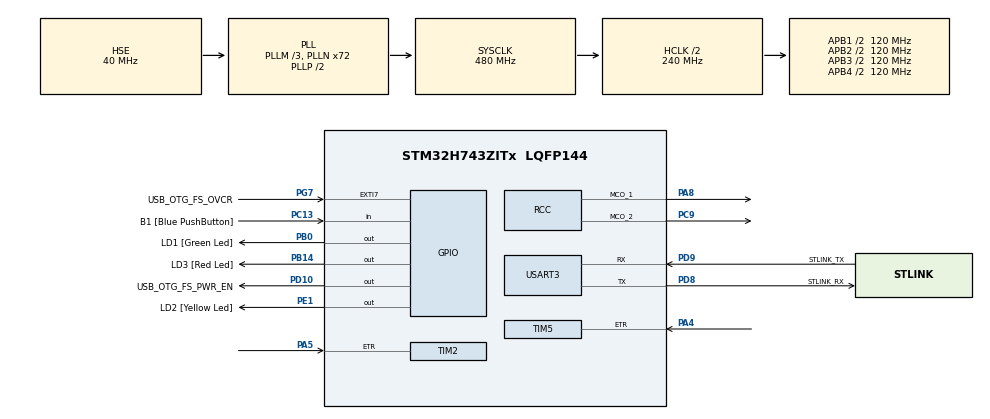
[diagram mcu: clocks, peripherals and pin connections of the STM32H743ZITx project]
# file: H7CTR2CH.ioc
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Mcu.Family=STM32H7
Mcu.Name=STM32H743ZITx
Mcu.Package=LQFP144
NVIC.PriorityGroup=NVIC_PRIORITYGROUP_4
NVIC.TIM2_IRQn=true\:0\:0\:false\:false\:true\:true\:true
NVIC.TIM5_IRQn=true\:0\:0\:false\:false\:true\:true\:true
NVIC.USART3_IRQn=true\:0\:0\:false\:false\:true\:true\:true
PA1.Signal=ETH_REF_CLK
PA11.Signal=USB_OTG_FS_DM
PA12.Signal=USB_OTG_FS_DP
PA13\ (JTMS/SWDIO).Signal=DEBUG_JTMS-SWDIO
PA14\ (JTCK/SWCLK).Signal=DEBUG_JTCK-SWCLK
PA2.Signal=ETH_MDIO
PA4.Signal=S_TIM5_ETR
PA5.Signal=S_TIM2_CH1_ETR
PA7.Signal=ETH_CRS_DV
PA8.GPIO_Speed=GPIO_SPEED_FREQ_VERY_HIGH
PA8.Mode=Clock-out-1
PA8.Signal=RCC_MCO_1
PA9.Signal=USB_OTG_FS_VBUS
PB0.GPIO_Label=LD1 [Green Led]
PB0.Signal=GPIO_Output
PB13.Signal=ETH_TXD1
PB14.GPIO_Label=LD3 [Red Led]
PB14.Signal=GPIO_Output
PC1.Signal=ETH_MDC
PC13.GPIO_Label=B1 [Blue PushButton]
PC13.Signal=GPIO_Input
PC14-OSC32_IN\ (OSC32_IN).Signal=RCC_OSC32_IN
PC15-OSC32_OUT\ (OSC32_OUT).Signal=RCC_OSC32_OUT
PC4.Signal=ETH_RXD0
PC5.Signal=ETH_RXD1
PC9.GPIO_Speed=GPIO_SPEED_FREQ_VERY_HIGH
PC9.Mode=Clock-out-2
PC9.Signal=RCC_MCO_2
PD10.GPIO_Label=USB_OTG_FS_PWR_EN
PD10.Signal=GPIO_Output
PD8.GPIO_Label=STLINK_RX
PD8.Mode=Asynchronous
PD8.Signal=USART3_TX
PD9.GPIO_Label=STLINK_TX
PD9.Mode=Asynchronous
PD9.Signal=USART3_RX
PE1.GPIO_Label=LD2 [Yellow Led]
PE1.Signal=GPIO_Output
PG11.Signal=ETH_TX_EN
PG13.Signal=ETH_TXD0
PG7.GPIO_Label=USB_OTG_FS_OVCR
PG7.Signal=GPXTI7
PH0-OSC_IN\ (PH0).Mode=HSE-External-Clock-Source
PH0-OSC_IN\ (PH0).Signal=RCC_OSC_IN
PH1-OSC_OUT\ (PH1).Signal=RCC_OSC_OUT
ProjectManager.HeapSize=0x200
ProjectManager.StackSize=0x400
ProjectManager.TargetToolchain=STM32CubeIDE
RCC.ADCFreq_Value=80625000
RCC.APB1Freq_Value=120000000
RCC.APB2Freq_Value=120000000
RCC.APB3Freq_Value=120000000
RCC.APB4Freq_Value=120000000
RCC.CortexFreq_Value=480000000
RCC.D1PPRE=RCC_APB3_DIV2
RCC.D2PPRE1=RCC_APB1_DIV2
RCC.D2PPRE2=RCC_APB2_DIV2
RCC.D3PPRE=RCC_APB4_DIV2
RCC.DIVM1=3
RCC.DIVN1=72
RCC.HCLKFreq_Value=240000000
RCC.HPRE=RCC_HCLK_DIV2
RCC.HSE_VALUE=40000000
RCC.PLL2FRACN=0
RCC.PLL3FRACN=0
RCC.PLLFRACN=0
RCC.PLLSourceVirtual=RCC_PLLSOURCE_HSE
RCC.PWR_Regulator_Voltage_Scale=PWR_REGULATOR_VOLTAGE_SCALE0
RCC.ProductRev=revV
RCC.RCC_MCO2Source=RCC_MCO2SOURCE_LSICLK
RCC.SYSCLKFreq_VALUE=480000000
RCC.SYSCLKSource=RCC_SYSCLKSOURCE_PLLCLK
RCC.USBFreq_Value=480000000
SH.S_TIM2_CH1_ETR.0=TIM2_ETR,ClockSourceETR_Mode2
SH.S_TIM5_ETR.0=TIM5_ETR,ClockSourceETR_Mode2
TIM2.Channel-Input_Capture1_from_TRC=TIM_CHANNEL_1
TIM2.ClockPrescaler=TIM_CLOCKPRESCALER_DIV2
TIM2.Period=0xffffffff
TIM2.TIM_MasterOutputTrigger=TIM_TRGO_RESET
TIM2.TIM_MasterSlaveMode=TIM_MASTERSLAVEMODE_ENABLE
TIM3.Period=47999
TIM3.Prescaler=9999
TIM3.TIM_MasterOutputTrigger=TIM_TRGO_UPDATE
TIM3.TIM_MasterSlaveMode=TIM_MASTERSLAVEMODE_ENABLE
TIM5.Channel-Input_Capture1_from_TRC=TIM_CHANNEL_1
TIM5.ClockPrescaler=TIM_CLOCKPRESCALER_DIV2
TIM5.Period=0xffffffff
TIM5.TIM_MasterSlaveMode=TIM_MASTERSLAVEMODE_ENABLE
USART3.VirtualMode-Asynchronous=VM_ASYNC
VP_TIM2_VS_CH1.Mode=Input_Capture1_from_TRC
VP_TIM2_VS_ClockSourceITR.Mode=TriggerSource_ITR2
VP_TIM2_VS_ControllerModeCombinedResetTrigger.Mode=Combined_Reset_Trigger_Mode
VP_TIM3_VS_ClockSourceINT.Mode=Internal
VP_TIM5_VS_CH1.Mode=Input_Capture1_from_TRC
VP_TIM5_VS_ClockSourceITR.Mode=TriggerSource_ITR2
VP_TIM5_VS_ControllerModeCombinedResetTrigger.Mode=Combined_Reset_Trigger_Mode
board=NUCLEO-H743ZI2

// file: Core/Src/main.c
/* USER CODE BEGIN Header */
/**
  ******************************************************************************
  * @file           : main.c
  * @brief          : Main program body
  ******************************************************************************
  * @attention
  *
  * Copyright (c) 2022 STMicroelectronics.
  * All rights reserved.
  *
  * This software is licensed under terms that can be found in the LICENSE file
  * in the root directory of this software component.
  * If no LICENSE file comes with this software, it is provided AS-IS.
  *
  ******************************************************************************
  */
/* USER CODE END Header */
#include "main.h"

/* USER CODE BEGIN Includes */
#include <stdio.h>
/* USER CODE END Includes */

/* USER CODE BEGIN PD */
#define MAXSTRLEN 80
/* USER CODE END PD */

TIM_HandleTypeDef htim2;
TIM_HandleTypeDef htim3;
TIM_HandleTypeDef htim5;

UART_HandleTypeDef huart3;

/* USER CODE BEGIN PV */
uint32_t countvalTIM2 = 0;
uint32_t countvalTIM5 = 0;
uint32_t readingno = 0;
char outstr[MAXSTRLEN] = "";
uint8_t newValFlagTIM2 = 0;
uint8_t newValFlagTIM5 = 0;

/* USER CODE END PV */

void SystemClock_Config(void);
static void MX_GPIO_Init(void);
static void MX_TIM2_Init(void);
static void MX_TIM3_Init(void);
static void MX_USART3_UART_Init(void);
static void MX_TIM5_Init(void);

int main(void)
{

  /* MCU Configuration--------------------------------------------------------*/

  /* Reset of all peripherals, Initializes the Flash interface and the Systick. */
  HAL_Init();

  /* Configure the system clock */
  SystemClock_Config();

  /* Initialize all configured peripherals */
  MX_GPIO_Init();
  MX_TIM2_Init();
  MX_TIM3_Init();
  MX_USART3_UART_Init();
  MX_TIM5_Init();
  /* USER CODE BEGIN 2 */

  printf("Start\n\r");
  printf("System Core Clock: %ld\n\r", SystemCoreClock);
  printf("HAL_RCC_GetHCLKFreq(): %ld\n\r", HAL_RCC_GetHCLKFreq());
  HAL_TIM_Base_Start(&htim3);
  HAL_TIM_IC_Start_IT(&htim2, TIM_CHANNEL_1);
  HAL_TIM_IC_Start_IT(&htim5, TIM_CHANNEL_1);
  /* USER CODE END 2 */

  /* Infinite loop */
  while (1)
  {

    /* USER CODE BEGIN 3 */
	  if(newValFlagTIM2 && newValFlagTIM5)
	  {
		  countvalTIM2 = __HAL_TIM_GET_COMPARE(&htim2, TIM_CHANNEL_1);
		  countvalTIM5 = __HAL_TIM_GET_COMPARE(&htim5, TIM_CHANNEL_1);
		  snprintf(outstr, MAXSTRLEN,
				  "reading #%lu, f_TIM2 = %lu Hz,\tf_TIM5 = %lu Hz\n\r",
				  readingno++, countvalTIM2, countvalTIM5);
		  printf("%s", outstr);
		  newValFlagTIM2 = 0;
		  newValFlagTIM5 = 0;
	  }
  }
  /* USER CODE END 3 */
}

void SystemClock_Config(void)
{
  RCC_OscInitTypeDef RCC_OscInitStruct = {0};
  RCC_ClkInitTypeDef RCC_ClkInitStruct = {0};

  /** Supply configuration update enable
  */
  HAL_PWREx_ConfigSupply(PWR_LDO_SUPPLY);
  /** Configure the main internal regulator output voltage
  */
  __HAL_PWR_VOLTAGESCALING_CONFIG(PWR_REGULATOR_VOLTAGE_SCALE0);

  while(!__HAL_PWR_GET_FLAG(PWR_FLAG_VOSRDY)) {}
  /** Initializes the RCC Oscillators according to the specified parameters
  * in the RCC_OscInitTypeDef structure.
  */
  RCC_OscInitStruct.OscillatorType = RCC_OSCILLATORTYPE_HSI|RCC_OSCILLATORTYPE_LSI
                              |RCC_OSCILLATORTYPE_HSE;
  RCC_OscInitStruct.HSEState = RCC_HSE_BYPASS;
  RCC_OscInitStruct.HSIState = RCC_HSI_DIV1;
  RCC_OscInitStruct.HSICalibrationValue = RCC_HSICALIBRATION_DEFAULT;
  RCC_OscInitStruct.LSIState = RCC_LSI_ON;
  RCC_OscInitStruct.PLL.PLLState = RCC_PLL_ON;
  RCC_OscInitStruct.PLL.PLLSource = RCC_PLLSOURCE_HSE;
  RCC_OscInitStruct.PLL.PLLM = 3;
  RCC_OscInitStruct.PLL.PLLN = 72;
  RCC_OscInitStruct.PLL.PLLP = 2;
  RCC_OscInitStruct.PLL.PLLQ = 2;
  RCC_OscInitStruct.PLL.PLLR = 2;
  RCC_OscInitStruct.PLL.PLLRGE = RCC_PLL1VCIRANGE_3;
  RCC_OscInitStruct.PLL.PLLVCOSEL = RCC_PLL1VCOWIDE;
  RCC_OscInitStruct.PLL.PLLFRACN = 0;
  if (HAL_RCC_OscConfig(&RCC_OscInitStruct) != HAL_OK)
  {
    Error_Handler();
  }
  /** Initializes the CPU, AHB and APB buses clocks
  */
  RCC_ClkInitStruct.ClockType = RCC_CLOCKTYPE_HCLK|RCC_CLOCKTYPE_SYSCLK
                              |RCC_CLOCKTYPE_PCLK1|RCC_CLOCKTYPE_PCLK2
                              |RCC_CLOCKTYPE_D3PCLK1|RCC_CLOCKTYPE_D1PCLK1;
  RCC_ClkInitStruct.SYSCLKSource = RCC_SYSCLKSOURCE_PLLCLK;
  RCC_ClkInitStruct.SYSCLKDivider = RCC_SYSCLK_DIV1;
  RCC_ClkInitStruct.AHBCLKDivider = RCC_HCLK_DIV2;
  RCC_ClkInitStruct.APB3CLKDivider = RCC_APB3_DIV2;
  RCC_ClkInitStruct.APB1CLKDivider = RCC_APB1_DIV2;
  RCC_ClkInitStruct.APB2CLKDivider = RCC_APB2_DIV2;
  RCC_ClkInitStruct.APB4CLKDivider = RCC_APB4_DIV2;

  if (HAL_RCC_ClockConfig(&RCC_ClkInitStruct, FLASH_LATENCY_4) != HAL_OK)
  {
    Error_Handler();
  }
  HAL_RCC_MCOConfig(RCC_MCO1, RCC_MCO1SOURCE_HSI, RCC_MCODIV_1);
  HAL_RCC_MCOConfig(RCC_MCO2, RCC_MCO2SOURCE_LSICLK, RCC_MCODIV_1);
}

static void MX_TIM2_Init(void)
{

  TIM_ClockConfigTypeDef sClockSourceConfig = {0};
  TIM_SlaveConfigTypeDef sSlaveConfig = {0};
  TIM_MasterConfigTypeDef sMasterConfig = {0};
  TIM_IC_InitTypeDef sConfigIC = {0};

  htim2.Instance = TIM2;
  htim2.Init.Prescaler = 0;
  htim2.Init.CounterMode = TIM_COUNTERMODE_UP;
  htim2.Init.Period = 0xffffffff;
  htim2.Init.ClockDivision = TIM_CLOCKDIVISION_DIV1;
  htim2.Init.AutoReloadPreload = TIM_AUTORELOAD_PRELOAD_DISABLE;
  if (HAL_TIM_Base_Init(&htim2) != HAL_OK)
  {
    Error_Handler();
  }
  sClockSourceConfig.ClockSource = TIM_CLOCKSOURCE_ETRMODE2;
  sClockSourceConfig.ClockPolarity = TIM_CLOCKPOLARITY_NONINVERTED;
  sClockSourceConfig.ClockPrescaler = TIM_CLOCKPRESCALER_DIV2;
  sClockSourceConfig.ClockFilter = 0;
  if (HAL_TIM_ConfigClockSource(&htim2, &sClockSourceConfig) != HAL_OK)
  {
    Error_Handler();
  }
  if (HAL_TIM_IC_Init(&htim2) != HAL_OK)
  {
    Error_Handler();
  }
  sSlaveConfig.SlaveMode = TIM_SLAVEMODE_COMBINED_RESETTRIGGER;
  sSlaveConfig.InputTrigger = TIM_TS_ITR2;
  if (HAL_TIM_SlaveConfigSynchro(&htim2, &sSlaveConfig) != HAL_OK)
  {
    Error_Handler();
  }
  sMasterConfig.MasterOutputTrigger = TIM_TRGO_RESET;
  sMasterConfig.MasterSlaveMode = TIM_MASTERSLAVEMODE_ENABLE;
  if (HAL_TIMEx_MasterConfigSynchronization(&htim2, &sMasterConfig) != HAL_OK)
  {
    Error_Handler();
  }
  sConfigIC.ICPolarity = TIM_INPUTCHANNELPOLARITY_RISING;
  sConfigIC.ICSelection = TIM_ICSELECTION_TRC;
  sConfigIC.ICPrescaler = TIM_ICPSC_DIV1;
  sConfigIC.ICFilter = 0;
  if (HAL_TIM_IC_ConfigChannel(&htim2, &sConfigIC, TIM_CHANNEL_1) != HAL_OK)
  {
    Error_Handler();
  }

}

static void MX_TIM3_Init(void)
{

  TIM_ClockConfigTypeDef sClockSourceConfig = {0};
  TIM_MasterConfigTypeDef sMasterConfig = {0};

  htim3.Instance = TIM3;
  htim3.Init.Prescaler = 9999;
  htim3.Init.CounterMode = TIM_COUNTERMODE_UP;
  htim3.Init.Period = 47999;
  htim3.Init.ClockDivision = TIM_CLOCKDIVISION_DIV1;
  htim3.Init.AutoReloadPreload = TIM_AUTORELOAD_PRELOAD_DISABLE;
  if (HAL_TIM_Base_Init(&htim3) != HAL_OK)
  {
    Error_Handler();
  }
  sClockSourceConfig.ClockSource = TIM_CLOCKSOURCE_INTERNAL;
  if (HAL_TIM_ConfigClockSource(&htim3, &sClockSourceConfig) != HAL_OK)
  {
    Error_Handler();
  }
  sMasterConfig.MasterOutputTrigger = TIM_TRGO_UPDATE;
  sMasterConfig.MasterSlaveMode = TIM_MASTERSLAVEMODE_ENABLE;
  if (HAL_TIMEx_MasterConfigSynchronization(&htim3, &sMasterConfig) != HAL_OK)
  {
    Error_Handler();
  }

}

static void MX_TIM5_Init(void)
{

  TIM_ClockConfigTypeDef sClockSourceConfig = {0};
  TIM_SlaveConfigTypeDef sSlaveConfig = {0};
  TIM_MasterConfigTypeDef sMasterConfig = {0};
  TIM_IC_InitTypeDef sConfigIC = {0};

  htim5.Instance = TIM5;
  htim5.Init.Prescaler = 0;
  htim5.Init.CounterMode = TIM_COUNTERMODE_UP;
  htim5.Init.Period = 0xffffffff;
  htim5.Init.ClockDivision = TIM_CLOCKDIVISION_DIV1;
  htim5.Init.AutoReloadPreload = TIM_AUTORELOAD_PRELOAD_DISABLE;
  if (HAL_TIM_Base_Init(&htim5) != HAL_OK)
  {
    Error_Handler();
  }
  sClockSourceConfig.ClockSource = TIM_CLOCKSOURCE_ETRMODE2;
  sClockSourceConfig.ClockPolarity = TIM_CLOCKPOLARITY_NONINVERTED;
  sClockSourceConfig.ClockPrescaler = TIM_CLOCKPRESCALER_DIV2;
  sClockSourceConfig.ClockFilter = 0;
  if (HAL_TIM_ConfigClockSource(&htim5, &sClockSourceConfig) != HAL_OK)
  {
    Error_Handler();
  }
  if (HAL_TIM_IC_Init(&htim5) != HAL_OK)
  {
    Error_Handler();
  }
  sSlaveConfig.SlaveMode = TIM_SLAVEMODE_COMBINED_RESETTRIGGER;
  sSlaveConfig.InputTrigger = TIM_TS_ITR2;
  if (HAL_TIM_SlaveConfigSynchro(&htim5, &sSlaveConfig) != HAL_OK)
  {
    Error_Handler();
  }
  sMasterConfig.MasterOutputTrigger = TIM_TRGO_RESET;
  sMasterConfig.MasterSlaveMode = TIM_MASTERSLAVEMODE_ENABLE;
  if (HAL_TIMEx_MasterConfigSynchronization(&htim5, &sMasterConfig) != HAL_OK)
  {
    Error_Handler();
  }
  sConfigIC.ICPolarity = TIM_INPUTCHANNELPOLARITY_RISING;
  sConfigIC.ICSelection = TIM_ICSELECTION_TRC;
  sConfigIC.ICPrescaler = TIM_ICPSC_DIV1;
  sConfigIC.ICFilter = 0;
  if (HAL_TIM_IC_ConfigChannel(&htim5, &sConfigIC, TIM_CHANNEL_1) != HAL_OK)
  {
    Error_Handler();
  }

}

static void MX_USART3_UART_Init(void)
{

  huart3.Instance = USART3;
  huart3.Init.BaudRate = 115200;
  huart3.Init.WordLength = UART_WORDLENGTH_8B;
  huart3.Init.StopBits = UART_STOPBITS_1;
  huart3.Init.Parity = UART_PARITY_NONE;
  huart3.Init.Mode = UART_MODE_TX_RX;
  huart3.Init.HwFlowCtl = UART_HWCONTROL_NONE;
  huart3.Init.OverSampling = UART_OVERSAMPLING_16;
  huart3.Init.OneBitSampling = UART_ONE_BIT_SAMPLE_DISABLE;
  huart3.Init.ClockPrescaler = UART_PRESCALER_DIV1;
  huart3.AdvancedInit.AdvFeatureInit = UART_ADVFEATURE_NO_INIT;
  if (HAL_UART_Init(&huart3) != HAL_OK)
  {
    Error_Handler();
  }
  if (HAL_UARTEx_SetTxFifoThreshold(&huart3, UART_TXFIFO_THRESHOLD_1_8) != HAL_OK)
  {
    Error_Handler();
  }
  if (HAL_UARTEx_SetRxFifoThreshold(&huart3, UART_RXFIFO_THRESHOLD_1_8) != HAL_OK)
  {
    Error_Handler();
  }
  if (HAL_UARTEx_DisableFifoMode(&huart3) != HAL_OK)
  {
    Error_Handler();
  }

}

static void MX_GPIO_Init(void)
{
  GPIO_InitTypeDef GPIO_InitStruct = {0};

  /* GPIO Ports Clock Enable */
  __HAL_RCC_GPIOC_CLK_ENABLE();
  __HAL_RCC_GPIOH_CLK_ENABLE();
  __HAL_RCC_GPIOA_CLK_ENABLE();
  __HAL_RCC_GPIOB_CLK_ENABLE();
  __HAL_RCC_GPIOD_CLK_ENABLE();
  __HAL_RCC_GPIOG_CLK_ENABLE();
  __HAL_RCC_GPIOE_CLK_ENABLE();

  /*Configure GPIO pin Output Level */
  HAL_GPIO_WritePin(GPIOB, LD1_Pin|LD3_Pin, GPIO_PIN_RESET);

  /*Configure GPIO pin Output Level */
  HAL_GPIO_WritePin(USB_OTG_FS_PWR_EN_GPIO_Port, USB_OTG_FS_PWR_EN_Pin, GPIO_PIN_RESET);

  /*Configure GPIO pin Output Level */
  HAL_GPIO_WritePin(LD2_GPIO_Port, LD2_Pin, GPIO_PIN_RESET);

  /*Configure GPIO pin : B1_Pin */
  GPIO_InitStruct.Pin = B1_Pin;
  GPIO_InitStruct.Mode = GPIO_MODE_INPUT;
  GPIO_InitStruct.Pull = GPIO_NOPULL;
  HAL_GPIO_Init(B1_GPIO_Port, &GPIO_InitStruct);

  /*Configure GPIO pins : PC1 PC4 PC5 */
  GPIO_InitStruct.Pin = GPIO_PIN_1|GPIO_PIN_4|GPIO_PIN_5;
  GPIO_InitStruct.Mode = GPIO_MODE_AF_PP;
  GPIO_InitStruct.Pull = GPIO_NOPULL;
  GPIO_InitStruct.Speed = GPIO_SPEED_FREQ_LOW;
  GPIO_InitStruct.Alternate = GPIO_AF11_ETH;
  HAL_GPIO_Init(GPIOC, &GPIO_InitStruct);

  /*Configure GPIO pins : PA1 PA2 PA7 */
  GPIO_InitStruct.Pin = GPIO_PIN_1|GPIO_PIN_2|GPIO_PIN_7;
  GPIO_InitStruct.Mode = GPIO_MODE_AF_PP;
  GPIO_InitStruct.Pull = GPIO_NOPULL;
  GPIO_InitStruct.Speed = GPIO_SPEED_FREQ_LOW;
  GPIO_InitStruct.Alternate = GPIO_AF11_ETH;
  HAL_GPIO_Init(GPIOA, &GPIO_InitStruct);

  /*Configure GPIO pins : LD1_Pin LD3_Pin */
  GPIO_InitStruct.Pin = LD1_Pin|LD3_Pin;
  GPIO_InitStruct.Mode = GPIO_MODE_OUTPUT_PP;
  GPIO_InitStruct.Pull = GPIO_NOPULL;
  GPIO_InitStruct.Speed = GPIO_SPEED_FREQ_LOW;
  HAL_GPIO_Init(GPIOB, &GPIO_InitStruct);

  /*Configure GPIO pin : PB13 */
  GPIO_InitStruct.Pin = GPIO_PIN_13;
  GPIO_InitStruct.Mode = GPIO_MODE_AF_PP;
  GPIO_InitStruct.Pull = GPIO_NOPULL;
  GPIO_InitStruct.Speed = GPIO_SPEED_FREQ_LOW;
  GPIO_InitStruct.Alternate = GPIO_AF11_ETH;
  HAL_GPIO_Init(GPIOB, &GPIO_InitStruct);

  /*Configure GPIO pin : USB_OTG_FS_PWR_EN_Pin */
  GPIO_InitStruct.Pin = USB_OTG_FS_PWR_EN_Pin;
  GPIO_InitStruct.Mode = GPIO_MODE_OUTPUT_PP;
  GPIO_InitStruct.Pull = GPIO_NOPULL;
  GPIO_InitStruct.Speed = GPIO_SPEED_FREQ_LOW;
  HAL_GPIO_Init(USB_OTG_FS_PWR_EN_GPIO_Port, &GPIO_InitStruct);

  /*Configure GPIO pin : USB_OTG_FS_OVCR_Pin */
  GPIO_InitStruct.Pin = USB_OTG_FS_OVCR_Pin;
  GPIO_InitStruct.Mode = GPIO_MODE_IT_RISING;
  GPIO_InitStruct.Pull = GPIO_NOPULL;
  HAL_GPIO_Init(USB_OTG_FS_OVCR_GPIO_Port, &GPIO_InitStruct);

  /*Configure GPIO pin : PC9 */
  GPIO_InitStruct.Pin = GPIO_PIN_9;
  GPIO_InitStruct.Mode = GPIO_MODE_AF_PP;
  GPIO_InitStruct.Pull = GPIO_NOPULL;
  GPIO_InitStruct.Speed = GPIO_SPEED_FREQ_VERY_HIGH;
  GPIO_InitStruct.Alternate = GPIO_AF0_MCO;
  HAL_GPIO_Init(GPIOC, &GPIO_InitStruct);

  /*Configure GPIO pin : PA8 */
  GPIO_InitStruct.Pin = GPIO_PIN_8;
  GPIO_InitStruct.Mode = GPIO_MODE_AF_PP;
  GPIO_InitStruct.Pull = GPIO_NOPULL;
  GPIO_InitStruct.Speed = GPIO_SPEED_FREQ_VERY_HIGH;
  GPIO_InitStruct.Alternate = GPIO_AF0_MCO;
  HAL_GPIO_Init(GPIOA, &GPIO_InitStruct);

  /*Configure GPIO pins : PA11 PA12 */
  GPIO_InitStruct.Pin = GPIO_PIN_11|GPIO_PIN_12;
  GPIO_InitStruct.Mode = GPIO_MODE_AF_PP;
  GPIO_InitStruct.Pull = GPIO_NOPULL;
  GPIO_InitStruct.Speed = GPIO_SPEED_FREQ_LOW;
  GPIO_InitStruct.Alternate = GPIO_AF10_OTG1_FS;
  HAL_GPIO_Init(GPIOA, &GPIO_InitStruct);

  /*Configure GPIO pins : PG11 PG13 */
  GPIO_InitStruct.Pin = GPIO_PIN_11|GPIO_PIN_13;
  GPIO_InitStruct.Mode = GPIO_MODE_AF_PP;
  GPIO_InitStruct.Pull = GPIO_NOPULL;
  GPIO_InitStruct.Speed = GPIO_SPEED_FREQ_LOW;
  GPIO_InitStruct.Alternate = GPIO_AF11_ETH;
  HAL_GPIO_Init(GPIOG, &GPIO_InitStruct);

  /*Configure GPIO pin : LD2_Pin */
  GPIO_InitStruct.Pin = LD2_Pin;
  GPIO_InitStruct.Mode = GPIO_MODE_OUTPUT_PP;
  GPIO_InitStruct.Pull = GPIO_NOPULL;
  GPIO_InitStruct.Speed = GPIO_SPEED_FREQ_LOW;
  HAL_GPIO_Init(LD2_GPIO_Port, &GPIO_InitStruct);

}

/* USER CODE BEGIN 4 */

/*
 *   enable printf for console output
 */

// Redirect standard output to the serial port
int _write(int file, char *ptr, int len)
{
    for (int i=0; i<len; i++)
    {
        while(!(USART3->ISR & USART_ISR_TXE_TXFNF)); // wait till transmit data reg empty
        USART3->TDR = *ptr++;
    }
    return len;
}

void HAL_TIM_IC_CaptureCallback(TIM_HandleTypeDef *htim)
{
	if(htim == &htim2)
	{
		newValFlagTIM2 = 1;
	}
	if(htim == &htim5)
	{
		newValFlagTIM5 = 1;
	}
}

/* USER CODE END 4 */

void Error_Handler(void)
{
  __disable_irq();
  while (1)
  {
  }
}
